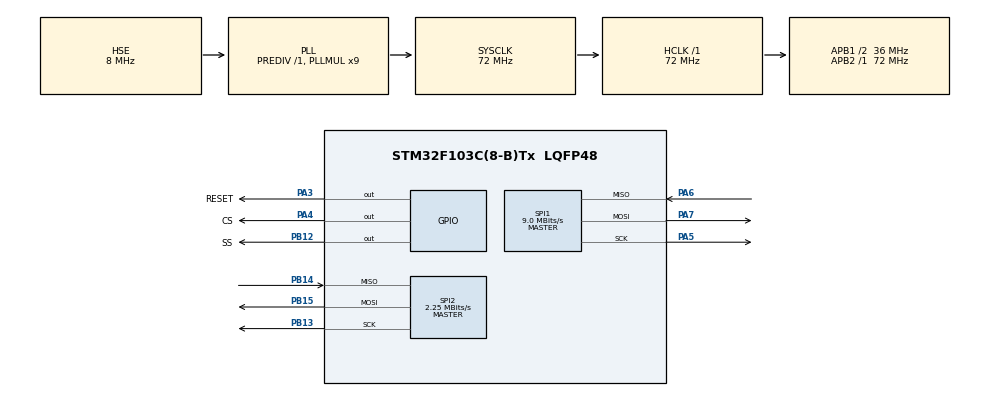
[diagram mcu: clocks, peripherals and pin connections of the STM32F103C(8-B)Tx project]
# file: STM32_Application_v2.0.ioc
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Mcu.Family=STM32F1
Mcu.Name=STM32F103C(8-B)Tx
Mcu.Package=LQFP48
NVIC.PriorityGroup=NVIC_PRIORITYGROUP_4
PA13.Mode=Serial_Wire
PA13.Signal=SYS_JTMS-SWDIO
PA14.Mode=Serial_Wire
PA14.Signal=SYS_JTCK-SWCLK
PA3.GPIO_Label=RESET
PA3.GPIO_Speed=GPIO_SPEED_FREQ_HIGH
PA3.PinState=GPIO_PIN_SET
PA3.Signal=GPIO_Output
PA4.GPIO_Label=CS
PA4.GPIO_Speed=GPIO_SPEED_FREQ_HIGH
PA4.PinState=GPIO_PIN_SET
PA4.Signal=GPIO_Output
PA5.Mode=Full_Duplex_Master
PA5.Signal=SPI1_SCK
PA6.Mode=Full_Duplex_Master
PA6.Signal=SPI1_MISO
PA7.Mode=Full_Duplex_Master
PA7.Signal=SPI1_MOSI
PB12.GPIO_Label=SS
PB12.GPIO_Speed=GPIO_SPEED_FREQ_HIGH
PB12.PinState=GPIO_PIN_SET
PB12.Signal=GPIO_Output
PB13.Mode=Full_Duplex_Master
PB13.Signal=SPI2_SCK
PB14.Mode=Full_Duplex_Master
PB14.Signal=SPI2_MISO
PB15.Mode=Full_Duplex_Master
PB15.Signal=SPI2_MOSI
PD0-OSC_IN.Mode=HSE-External-Oscillator
PD0-OSC_IN.Signal=RCC_OSC_IN
PD1-OSC_OUT.Mode=HSE-External-Oscillator
PD1-OSC_OUT.Signal=RCC_OSC_OUT
ProjectManager.HeapSize=0x200
ProjectManager.StackSize=0x400
ProjectManager.TargetToolchain=STM32CubeIDE
RCC.AHBFreq_Value=72000000
RCC.APB1CLKDivider=RCC_HCLK_DIV2
RCC.APB1Freq_Value=36000000
RCC.APB1TimFreq_Value=72000000
RCC.APB2Freq_Value=72000000
RCC.APB2TimFreq_Value=72000000
RCC.EnbaleCSS=true
RCC.HCLKFreq_Value=72000000
RCC.PLLMUL=RCC_PLL_MUL9
RCC.PLLSourceVirtual=RCC_PLLSOURCE_HSE
RCC.SYSCLKFreq_VALUE=72000000
RCC.SYSCLKSource=RCC_SYSCLKSOURCE_PLLCLK
RCC.USBFreq_Value=72000000
SPI1.BaudRatePrescaler=SPI_BAUDRATEPRESCALER_8
SPI1.CalculateBaudRate=9.0 MBits/s
SPI1.Direction=SPI_DIRECTION_2LINES
SPI1.Mode=SPI_MODE_MASTER
SPI1.VirtualType=VM_MASTER
SPI2.BaudRatePrescaler=SPI_BAUDRATEPRESCALER_16
SPI2.CalculateBaudRate=2.25 MBits/s
SPI2.Direction=SPI_DIRECTION_2LINES
SPI2.Mode=SPI_MODE_MASTER
SPI2.VirtualType=VM_MASTER
board=custom

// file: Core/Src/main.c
/* USER CODE BEGIN Header */
/**
 ******************************************************************************
 * @file           : main.c
 * @brief          : Main program body
 ******************************************************************************
 * @attention
 *
 * Copyright (c) 2026 STMicroelectronics.
 * All rights reserved.
 *
 * This software is licensed under terms that can be found in the LICENSE file
 * in the root directory of this software component.
 * If no LICENSE file comes with this software, it is provided AS-IS.
 *
 ******************************************************************************
 */
/* USER CODE END Header */
#include "main.h"

/* USER CODE BEGIN Includes */
#include "wizchip_port.h"
#include "ota_tcp_server.h"

#include "flash_layout.h"
#include "app_header.h"
#include "app_ota.h"

#include "dwt.h"
#include "timer2.h"
#include "timer3.h"
#include "usart1.h"
#include "i2c2.h"

#include "lcd.h"
#include "w25q64.h"
#include "dht11.h"
#include "ds3231.h"
#include "button.h"
#include "mpu6050.h"

#include "tasks.h"

#include <stdint.h>
#include <stdio.h>
#include <string.h>
/* USER CODE END Includes */

/* USER CODE BEGIN PM */
#define MPU_READ_TICKS        5
#define DHT11_READ_TICKS      100
#define LCD_UPDATE_TICKS      10
/* USER CODE END PM */

SPI_HandleTypeDef hspi1;
SPI_HandleTypeDef hspi2;

void SystemClock_Config(void);
static void MX_GPIO_Init(void);
static void MX_SPI1_Init(void);
static void MX_SPI2_Init(void);
/* USER CODE BEGIN PFP */

extern volatile uint8_t ota_begin;

/* USER CODE END PFP */

int main(void)
{

  /* MCU Configuration--------------------------------------------------------*/

  /* Reset of all peripherals, Initializes the Flash interface and the Systick. */
  HAL_Init();

  /* USER CODE BEGIN Init */
  SCB->VTOR = APP_START_ADDR;
  __enable_irq();
  /* USER CODE END Init */

  /* Configure the system clock */
  SystemClock_Config();

  /* Initialize all configured peripherals */
  MX_GPIO_Init();
  MX_SPI1_Init();
  MX_SPI2_Init();
  /* USER CODE BEGIN 2 */

  DWT_Init();
  TIMER2_Init();
  TIMER4_Init();
  USART1_Init();
  I2C2_Init();
  LCD_Init();

  USART1_SendString("\r\nInside Application !!!\r\n");

  // Read current app version from header
  app_header_t *header = (app_header_t*) APP_HEADER_ADDR;
  int version = (header->magic == APP_MAGIC) ? header->version : 0;

  // Welcome Message
  LCD_Clear();
  LCD_SetCursor(0, 0);
  LCD_SendString("Sensor Monitor");
  LCD_SetCursor(1, 0);

  // Show version on second line
  char version_str[17];
  sprintf(version_str, "System v%d", version);
  LCD_SendString(version_str);

  USART1_SendString("\r\n====================================\r\n");
  USART1_SendString("Sensor Monitoring System v");
  USART1_SendNumber(version);
  USART1_SendString("\r\n");
  USART1_SendString("====================================\r\n\r\n");

  if(W5500_Init() != 0)
  {
    USART1_SendString("W5500 Initialization failed !!!\r\n");
  }

  // W25Q64 Flash Initialize
  W25Q_Reset();
  uint32_t id = W25Q_ReadID();

  if(id != 0xEF4017)
  {
    USART1_SendString("ERROR: W25Q64 not found!\r\n");
  }
  else
  {
    USART1_SendString("W25Q64 OK\r\n");
  }

  // Initialize sensors
  DS3231_Init();
  DHT11_Init();
  MPU6050_Init();

  // Loop counters
  uint16_t dht_count = 0;
  uint16_t lcd_count = 0;
  uint16_t mpu_count = 0;

  Button_Init();

  TIMER2_Delay_ms(2000);

  TIMER3_SetupPeriod(10);  // 10ms period

  /* USER CODE END 2 */

  /* Infinite loop */
  while(1)
  {

    /* USER CODE BEGIN 3 */
    if(ota_begin == 1)
    {
      ota_begin = 0;
      USART1_SendString("\r\nStarting OTA Update...\r\n");
      ota_start();
    }

    while(ota_active == 1)
    {
      OTA_Client_Task();
      HAL_Delay(1);
    }

    // Only update sensors and normal display if NOT in OTA mode
    if(ota_active == 0 && ota_status_stage != OTA_STAGE_ERROR && ota_status_stage != OTA_STAGE_COMPLETE)
    {
      // Read DHT11 every 1 seconds
      if(dht_count++ >= DHT11_READ_TICKS)
      {
        dht_count = 0;
        Task_DHT11_Read();
      }

      // Read MPU6050 every 50ms
      if(mpu_count++ >= MPU_READ_TICKS)
      {
        mpu_count = 0;
        Task_MPU6050_Read();
      }

      // Update LCD every 100ms
      if(lcd_count++ >= LCD_UPDATE_TICKS)
      {
        lcd_count = 0;
        Task_LCD_Update();
      }
    }
    else if(ota_status_stage == OTA_STAGE_ERROR)
    {
      // If OTA error occurred, wait a bit then clear error state
      static uint32_t error_wait = 0;
      if(error_wait == 0)
      {
        error_wait = HAL_GetTick();
      }

      if((HAL_GetTick() - error_wait) > 2000)
      {  // Show error for 2 seconds
        ota_status_stage = 0;
        error_wait = 0;
        LCD_Clear();
        Task_LCD_Update();  // Restore normal display
      }
    }

    TIMER3_WaitPeriod(); // 10ms heartbeat
  }
  /* USER CODE END 3 */
}

void SystemClock_Config(void)
{
  RCC_OscInitTypeDef RCC_OscInitStruct = {0};
  RCC_ClkInitTypeDef RCC_ClkInitStruct = {0};

  /** Initializes the RCC Oscillators according to the specified parameters
  * in the RCC_OscInitTypeDef structure.
  */
  RCC_OscInitStruct.OscillatorType = RCC_OSCILLATORTYPE_HSE;
  RCC_OscInitStruct.HSEState = RCC_HSE_ON;
  RCC_OscInitStruct.HSEPredivValue = RCC_HSE_PREDIV_DIV1;
  RCC_OscInitStruct.HSIState = RCC_HSI_ON;
  RCC_OscInitStruct.PLL.PLLState = RCC_PLL_ON;
  RCC_OscInitStruct.PLL.PLLSource = RCC_PLLSOURCE_HSE;
  RCC_OscInitStruct.PLL.PLLMUL = RCC_PLL_MUL9;
  if (HAL_RCC_OscConfig(&RCC_OscInitStruct) != HAL_OK)
  {
    Error_Handler();
  }

  /** Initializes the CPU, AHB and APB buses clocks
  */
  RCC_ClkInitStruct.ClockType = RCC_CLOCKTYPE_HCLK|RCC_CLOCKTYPE_SYSCLK
                              |RCC_CLOCKTYPE_PCLK1|RCC_CLOCKTYPE_PCLK2;
  RCC_ClkInitStruct.SYSCLKSource = RCC_SYSCLKSOURCE_PLLCLK;
  RCC_ClkInitStruct.AHBCLKDivider = RCC_SYSCLK_DIV1;
  RCC_ClkInitStruct.APB1CLKDivider = RCC_HCLK_DIV2;
  RCC_ClkInitStruct.APB2CLKDivider = RCC_HCLK_DIV1;

  if (HAL_RCC_ClockConfig(&RCC_ClkInitStruct, FLASH_LATENCY_2) != HAL_OK)
  {
    Error_Handler();
  }

  /** Enables the Clock Security System
  */
  HAL_RCC_EnableCSS();
}

static void MX_SPI1_Init(void)
{

  /* SPI1 parameter configuration*/
  hspi1.Instance = SPI1;
  hspi1.Init.Mode = SPI_MODE_MASTER;
  hspi1.Init.Direction = SPI_DIRECTION_2LINES;
  hspi1.Init.DataSize = SPI_DATASIZE_8BIT;
  hspi1.Init.CLKPolarity = SPI_POLARITY_LOW;
  hspi1.Init.CLKPhase = SPI_PHASE_1EDGE;
  hspi1.Init.NSS = SPI_NSS_SOFT;
  hspi1.Init.BaudRatePrescaler = SPI_BAUDRATEPRESCALER_8;
  hspi1.Init.FirstBit = SPI_FIRSTBIT_MSB;
  hspi1.Init.TIMode = SPI_TIMODE_DISABLE;
  hspi1.Init.CRCCalculation = SPI_CRCCALCULATION_DISABLE;
  hspi1.Init.CRCPolynomial = 10;
  if (HAL_SPI_Init(&hspi1) != HAL_OK)
  {
    Error_Handler();
  }

}

static void MX_SPI2_Init(void)
{

  /* SPI2 parameter configuration*/
  hspi2.Instance = SPI2;
  hspi2.Init.Mode = SPI_MODE_MASTER;
  hspi2.Init.Direction = SPI_DIRECTION_2LINES;
  hspi2.Init.DataSize = SPI_DATASIZE_8BIT;
  hspi2.Init.CLKPolarity = SPI_POLARITY_LOW;
  hspi2.Init.CLKPhase = SPI_PHASE_1EDGE;
  hspi2.Init.NSS = SPI_NSS_SOFT;
  hspi2.Init.BaudRatePrescaler = SPI_BAUDRATEPRESCALER_16;
  hspi2.Init.FirstBit = SPI_FIRSTBIT_MSB;
  hspi2.Init.TIMode = SPI_TIMODE_DISABLE;
  hspi2.Init.CRCCalculation = SPI_CRCCALCULATION_DISABLE;
  hspi2.Init.CRCPolynomial = 10;
  if (HAL_SPI_Init(&hspi2) != HAL_OK)
  {
    Error_Handler();
  }

}

static void MX_GPIO_Init(void)
{
  GPIO_InitTypeDef GPIO_InitStruct = {0};

  /* GPIO Ports Clock Enable */
  __HAL_RCC_GPIOD_CLK_ENABLE();
  __HAL_RCC_GPIOA_CLK_ENABLE();
  __HAL_RCC_GPIOB_CLK_ENABLE();

  /*Configure GPIO pin Output Level */
  HAL_GPIO_WritePin(GPIOA, RESET_Pin|CS_Pin, GPIO_PIN_SET);

  /*Configure GPIO pin Output Level */
  HAL_GPIO_WritePin(SS_GPIO_Port, SS_Pin, GPIO_PIN_SET);

  /*Configure GPIO pins : RESET_Pin CS_Pin */
  GPIO_InitStruct.Pin = RESET_Pin|CS_Pin;
  GPIO_InitStruct.Mode = GPIO_MODE_OUTPUT_PP;
  GPIO_InitStruct.Pull = GPIO_NOPULL;
  GPIO_InitStruct.Speed = GPIO_SPEED_FREQ_HIGH;
  HAL_GPIO_Init(GPIOA, &GPIO_InitStruct);

  /*Configure GPIO pin : SS_Pin */
  GPIO_InitStruct.Pin = SS_Pin;
  GPIO_InitStruct.Mode = GPIO_MODE_OUTPUT_PP;
  GPIO_InitStruct.Pull = GPIO_NOPULL;
  GPIO_InitStruct.Speed = GPIO_SPEED_FREQ_HIGH;
  HAL_GPIO_Init(SS_GPIO_Port, &GPIO_InitStruct);

}

void Error_Handler(void)
{
  __disable_irq();
  while(1)
  {
  }
}
